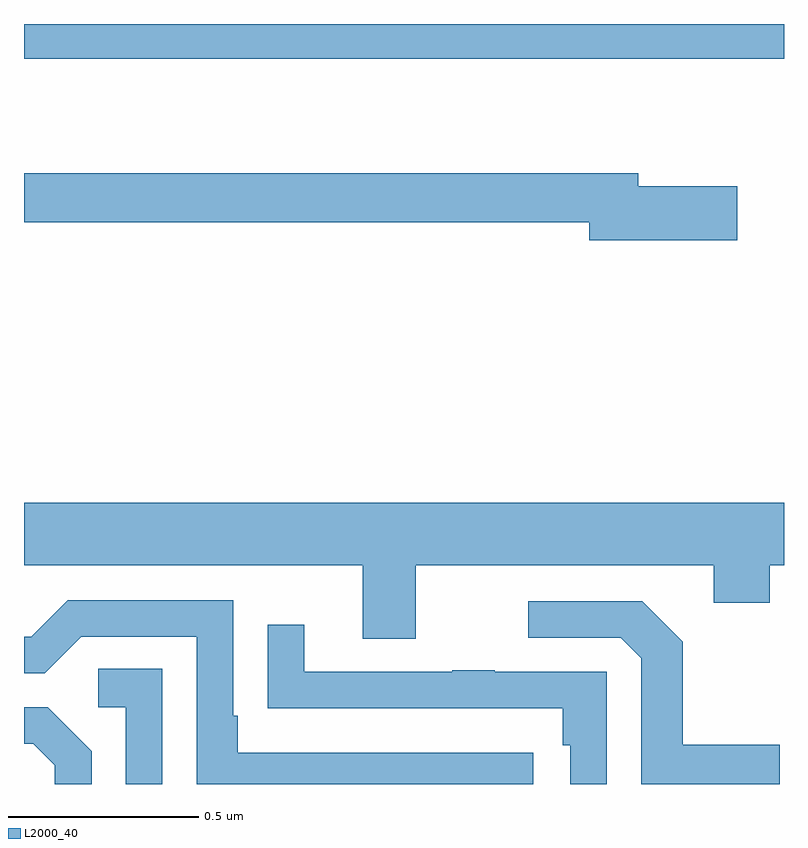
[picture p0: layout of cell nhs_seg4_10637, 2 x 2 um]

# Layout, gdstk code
import gdstk
lib = gdstk.Library(unit=1e-6, precision=1e-09)
def R(c, l, rs):  # rectangles x0, y0, x1, y1
    for r in rs: c.add(gdstk.rectangle(r[:2], r[2:], *l))
def P(c, l, *ps):  # polygons
    for p in ps: c.add(gdstk.Polygon(p, *l))
L2000_40 = (2000, 40)

nhs_seg4_10637 = lib.new_cell('nhs_seg4_10637')
R(nhs_seg4_10637, L2000_40, [(242,808.808,244,808.9)])
P(nhs_seg4_10637, L2000_40, [(243.877,808.473),(243.616,808.473),(243.616,808.507),(242,808.507),(242,808.378),(243.488,808.378),(243.488,808.331),(243.877,808.331)],
  [(243.031,807.476),(243.815,807.476),(243.815,807.377),(243.963,807.377),(243.963,807.476),(244,807.476),(244,807.64),(242,807.64),(242,807.476),(242.891,807.476),(242.891,807.282),(243.031,807.282)],
  [(243.34,806.982),(242.563,806.982),(242.563,807.079),(242.55,807.079),(242.55,807.384),(242.115,807.384),(242.019,807.288),(242,807.288),(242,807.192),(242.055,807.192),(242.151,807.288),(242.454,807.288),(242.454,806.9),(243.34,806.9)],
  [(243.989,807.003),(243.733,807.003),(243.733,807.275),(243.627,807.381),(243.327,807.381),(243.327,807.285),(243.57,807.285),(243.624,807.231),(243.624,806.9),(243.989,806.9)],
  [(243.534,807.195),(243.239,807.195),(243.239,807.2),(243.127,807.2),(243.127,807.195),(242.737,807.195),(242.737,807.319),(242.641,807.319),(242.641,807.1),(242.743,807.1),(242.743,807.099),(243.418,807.099),(243.418,807.002),(243.438,807.002),(243.438,806.9),(243.534,806.9)],
  [(242.364,807.203),(242.196,807.203),(242.196,807.102),(242.268,807.102),(242.268,806.9),(242.364,806.9)],
  [(242.178,806.986),(242.062,807.102),(242,807.102),(242,807.006),(242.024,807.006),(242.081,806.949),(242.081,806.9),(242.178,806.9)])

lib.write_gds('nhs_seg4_10637.gds')
